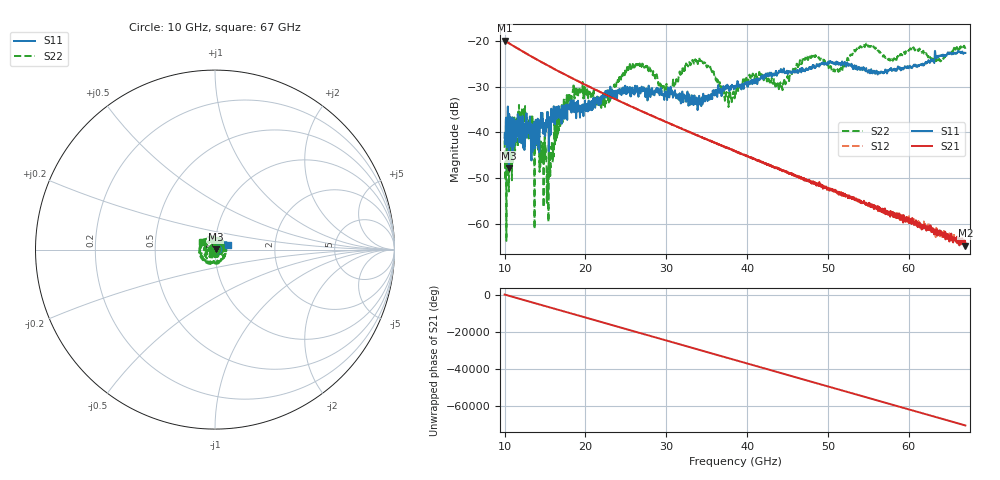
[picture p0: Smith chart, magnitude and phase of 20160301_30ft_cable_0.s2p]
# GHZ S RI R 50
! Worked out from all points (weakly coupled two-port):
!   2281 points, 10 GHz to 67 GHz, reference 50 ohm
!   highest |S21| = -19.92 dB at 10 GHz (marker M1); lowest = -64.8 dB at 67 GHz (marker M2)
!   lowest |S11| = -47.8 dB at 10.53 GHz (marker M3), VSWR 1.01, Z = 50.4 + j0.08 ohm
!   |S11| at or under -10 dB: start of sweep to end of sweep
!   |S22| runs from -63.7 to -20.6 dB; largest |S21 - S12| = 0.0005
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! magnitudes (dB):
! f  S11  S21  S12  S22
! 10 GHz  -41.2  -19.9  -19.9  -41.8
! 10.38 GHz  -35.3  -20.3  -20.3  -41.2
! 10.53 GHz  -47.8  -20.5  -20.5  -52.9
! 11.93 GHz  -40.1  -22.0  -22.0  -37.9
! 13.28 GHz  -42.2  -23.4  -23.4  -36.5
! 15.43 GHz  -38.1  -25.5  -25.5  -59.6
! 16.8 GHz  -34.9  -26.8  -26.7  -37.1
! 19.5 GHz  -34.1  -29.2  -29.2  -30.7
! 22.2 GHz  -31.7  -31.5  -31.5  -33.1
! 26.43 GHz  -30.8  -35.0  -35.0  -25.1
! 29 GHz  -31.3  -37.0  -37.0  -29.0
! 30.43 GHz  -31.7  -38.1  -38.1  -30.5
! 34.23 GHz  -32.9  -41.0  -41.0  -24.3
! 37.45 GHz  -30.4  -43.4  -43.3  -31.2
! 38.5 GHz  -30.4  -44.1  -44.1  -31.9
! 41.25 GHz  -29.5  -46.2  -46.1  -28.1
! 44.17 GHz  -26.1  -48.2  -48.2  -29.1
! 48 GHz  -25.9  -51.2  -50.9  -23.5
! 51.17 GHz  -25.0  -53.2  -53.1  -26.3
! 54.6 GHz  -26.5  -55.4  -55.5  -21.0
! 57.5 GHz  -26.5  -57.9  -57.3  -24.0
! 67 GHz  -22.6  -64.8  -63.9  -21.7
